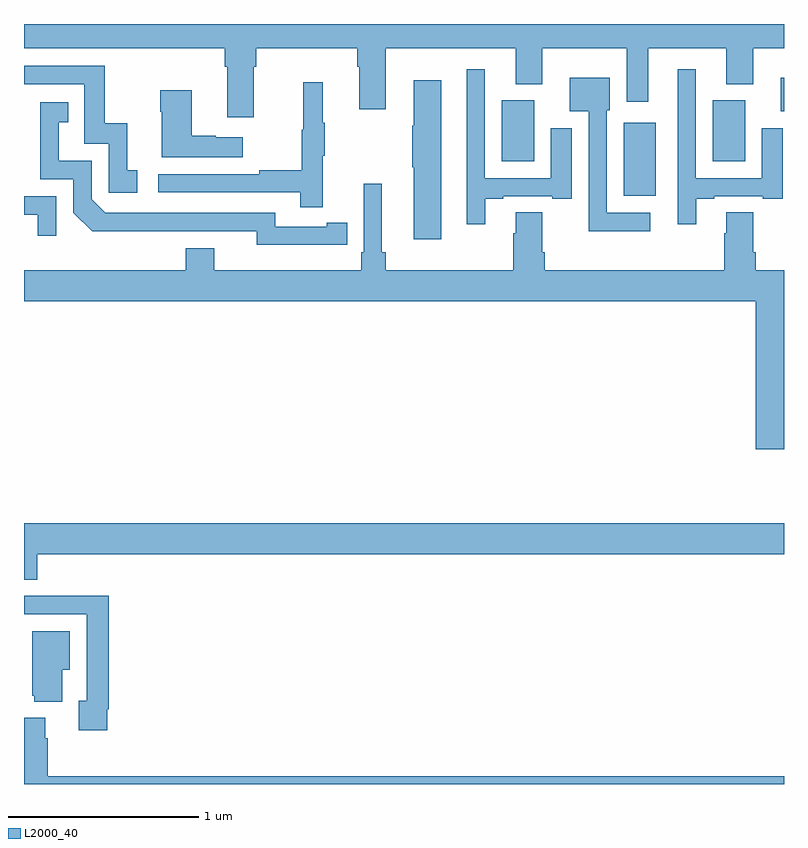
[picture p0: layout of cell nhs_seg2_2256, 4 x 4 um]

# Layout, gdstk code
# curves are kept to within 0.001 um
import gdstk
lib = gdstk.Library(unit=1e-6, precision=1e-09)
def R(c, l, rs):  # rectangles x0, y0, x1, y1
    for r in rs: c.add(gdstk.rectangle(r[:2], r[2:], *l))
def P(c, l, *ps):  # polygons
    for p in ps: c.add(gdstk.Polygon(p, *l))
L2000_40 = (2000, 40)

nhs_seg2_2256 = lib.new_cell('nhs_seg2_2256')
R(nhs_seg2_2256, L2000_40, [(232.157,610.895,232.324,611.281), (231.515,611.078,231.685,611.398), (232.625,611.078,232.795,611.398), (232.982,611.342,233,611.518)])
P(nhs_seg2_2256, L2000_40, [(230.209,611.576),(230.222,611.576),(230.222,611.672),(230.753,611.672),(230.753,611.576),(230.765,611.576),(230.765,611.352),(230.905,611.352),(230.905,611.672),(231.587,611.672),(231.587,611.483),(231.727,611.483),(231.727,611.672),(232.172,611.672),(232.172,611.391),(232.285,611.391),(232.285,611.672),(232.697,611.672),(232.697,611.483),(232.837,611.483),(232.837,611.672),(233,611.672),(233,611.8),(229,611.8),(229,611.672),(230.057,611.672),(230.057,611.576),(230.069,611.576),(230.069,611.31),(230.209,611.31)],
  [(229.597,611.031),(229.544,611.031),(229.544,611.278),(229.426,611.278),(229.426,611.58),(229,611.58),(229,611.484),(229.317,611.484),(229.317,611.169),(229.446,611.169),(229.446,610.911),(229.597,610.911)],
  [(231.427,610.881),(231.523,610.881),(231.523,610.893),(231.779,610.893),(231.779,610.881),(231.883,610.881),(231.883,611.251),(231.773,611.251),(231.773,610.989),(231.426,610.989),(231.426,611.563),(231.329,611.563),(231.329,610.746),(231.427,610.746)],
  [(232.537,610.881),(232.633,610.881),(232.633,610.893),(232.889,610.893),(232.889,610.881),(232.993,610.881),(232.993,611.251),(232.883,611.251),(232.883,610.989),(232.536,610.989),(232.536,611.563),(232.44,611.563),(232.44,610.746),(232.537,610.746)],
  [(232.297,610.806),(232.068,610.806),(232.068,611.346),(232.084,611.346),(232.084,611.518),(231.872,611.518),(231.872,611.342),(231.972,611.342),(231.972,610.709),(232.297,610.709)],
  [(231.196,611.503),(231.05,611.503),(231.05,611.264),(231.043,611.264),(231.043,611.047),(231.05,611.047),(231.05,610.668),(231.196,610.668)],
  [(230.573,611.107),(230.584,611.107),(230.584,611.281),(230.573,611.281),(230.573,611.494),(230.47,611.494),(230.47,611.244),(230.463,611.244),(230.463,611.03),(230.239,611.03),(230.239,611.01),(229.707,611.01),(229.707,610.914),(230.455,610.914),(230.455,610.836),(230.573,610.836)],
  [(230.152,611.203),(230.009,611.203),(230.009,611.213),(229.882,611.213),(229.882,611.452),(229.717,611.452),(229.717,611.339),(229.724,611.339),(229.724,611.099),(230.152,611.099)],
  [(230.594,610.638),(230.702,610.638),(230.702,610.754),(230.594,610.754),(230.594,610.734),(230.322,610.734),(230.322,610.806),(229.428,610.806),(229.356,610.878),(229.356,611.079),(229.183,611.079),(229.183,611.283),(229.232,611.283),(229.232,611.389),(229.086,611.389),(229.086,610.983),(229.26,610.983),(229.26,610.806),(229.358,610.709),(230.226,610.71),(230.226,610.637)],
  [(233,610.504),(232.85,610.504),(232.85,610.6),(232.837,610.6),(232.837,610.808),(232.697,610.808),(232.697,610.7),(232.685,610.7),(232.685,610.504),(231.74,610.504),(231.74,610.6),(231.727,610.6),(231.727,610.808),(231.587,610.808),(231.587,610.7),(231.575,610.7),(231.575,610.504),(230.903,610.504),(230.903,610.6),(230.884,610.6),(230.884,610.96),(230.787,610.96),(230.787,610.6),(230.774,610.6),(230.774,610.504),(230.002,610.504),(230.002,610.621),(229.85,610.621),(229.85,610.504),(229,610.504),(229,610.34),(232.85,610.34),(232.85,609.561),(233,609.561)],
  [(229.17,610.893),(229,610.893),(229,610.797),(229.073,610.797),(229.073,610.686),(229.17,610.686)],
  [(229.07,609.008),(233,609.008),(233,609.172),(229,609.172),(229,608.875),(229.07,608.875)],
  [(229.438,608.194),(229.445,608.194),(229.445,608.792),(229.153,608.792),(229.153,608.79),(229,608.79),(229,608.694),(229.329,608.694),(229.329,608.238),(229.289,608.238),(229.289,608.082),(229.438,608.082)],
  [(229.201,608.402),(229.24,608.402),(229.24,608.605),(229.043,608.605),(229.043,608.265),(229.055,608.265),(229.055,608.234),(229.201,608.234)],
  [(233,607.84),(229.124,607.84),(229.124,608.042),(229.111,608.042),(229.111,608.149),(229,608.149),(229,607.8),(233,607.8)])

lib.write_gds('nhs_seg2_2256.gds')
